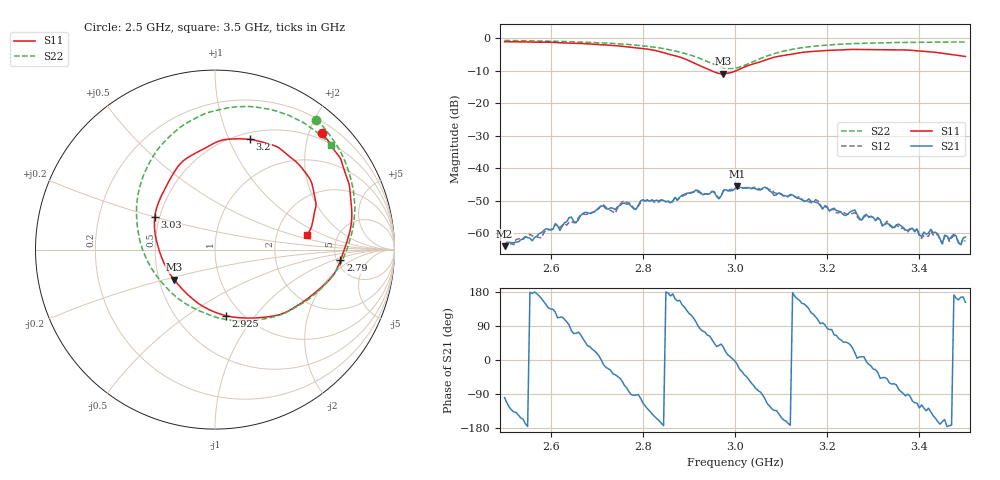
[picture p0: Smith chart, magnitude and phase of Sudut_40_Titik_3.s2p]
# Hz S RI R 50
! CMT, C1220, 16058040, 17.2.0/1
! Date: 15/08/2018 10:39:56
! Data: Format (Calibration Info)
! Freq  S11: Re/Im (F2)  S21: Re/Im (F2)  S12: Re/Im (F2)  S22: Re/Im (F2)
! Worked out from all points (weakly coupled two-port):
!   201 points, 2.5 GHz to 3.5 GHz, reference 50 ohm
!   highest |S21| = -45.55 dB at 3.005 GHz (marker M1); lowest = -63.9 dB at 2.5 GHz (marker M2)
!   lowest |S11| = -11.0 dB at 2.975 GHz (marker M3), VSWR 1.79, Z = 30 - j10.9 ohm
!   |S11| at or under -10 dB: 2.949 GHz to 3.003 GHz (54.34 MHz wide, 1.83 % of centre)
!   |S22| runs from -9.3 to -0.7 dB; largest |S21 - S12| = 0.00048
!   S11 on the Smith chart (normalised r, x): 2.5 GHz: 0.39, +2.22; 2.79 GHz: 5.39, -1.27; 2.925 GHz: 0.85, -0.72; 3.03 GHz: 0.47, +0.20; 3.2 GHz: 0.57, +1.20; 3.5 GHz: 3.00, +0.69
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2.5e9  0.5948 0.6479  -0.000104 -0.000629  -0.000147 -0.000633  0.5648 0.7244
2.67e9  0.751 0.3381  0.00112 0.00169  0.00121 0.00158  0.7388 0.4526
2.76e9  0.7389 0.0558  0.00114 -0.0027  0.0013 -0.0029  0.7783 0.2094
2.79e9  0.6989 -0.0599  -6.71e-05 -0.00269  -0.000239 -0.00259  0.7649 0.1046
2.835e9  0.5855 -0.2162  -0.00297 -0.00109  -0.00281 -0.00114  0.7036 -0.0697
2.925e9  0.0607 -0.3678  0.000647 0.00423  0.000464 0.00411  0.2951 -0.382
2.965e9  -0.18 -0.2228  0.00266 0.0021  0.00277 0.00213  -0.0207 -0.368
2.975e9  -0.2275 -0.1676  0.00388 0.00252  0.00376 0.00251  -0.0975 -0.3364
3e9  -0.3097 -0.00849  0.00486 -0.000256  0.00488 -0.000413  -0.2727 -0.2098
3.005e9  -0.3194 0.0245  0.00517 -0.00107  0.00497 -0.00116  -0.3013 -0.1776
3.03e9  -0.3359 0.1812  0.00313 -0.00397  0.00316 -0.00404  -0.406 0.00735
3.1e9  -0.1574 0.5091  -0.00354 -0.002  -0.00352 -0.00179  -0.3542 0.5044
3.17e9  0.0948 0.6166  -0.00157 0.00265  -0.00181 0.00255  -0.0884 0.7422
3.2e9  0.1951 0.6141  0.000283 0.00247  0.000489 0.00255  0.0226 0.7789
3.335e9  0.4939 0.4414  0.000682 -0.00119  0.000584 -0.0012  0.3942 0.7541
3.395e9  0.5502 0.3227  -0.000467 -0.00107  -0.000578 -0.00105  0.5048 0.699
3.405e9  0.556 0.2961  -0.000427 -0.000791  -0.000443 -0.00071  0.5204 0.6876
3.425e9  0.5627 0.2493  -0.000847 -0.000791  -0.000814 -0.000735  0.5503 0.6677
3.45e9  0.552 0.1949  -0.000665 -0.000213  -0.000646 -0.00024  0.5866 0.6391
3.46e9  0.5472 0.1683  -0.000906 -7.22e-05  -0.00094 -4.52e-05  0.5993 0.629
3.49e9  0.5252 0.1015  -0.00065 0.000166  -0.000619 0.000247  0.6349 0.5934
3.5e9  0.5148 0.0835  -0.000781 0.000412  -0.000626 0.000422  0.6461 0.5822
